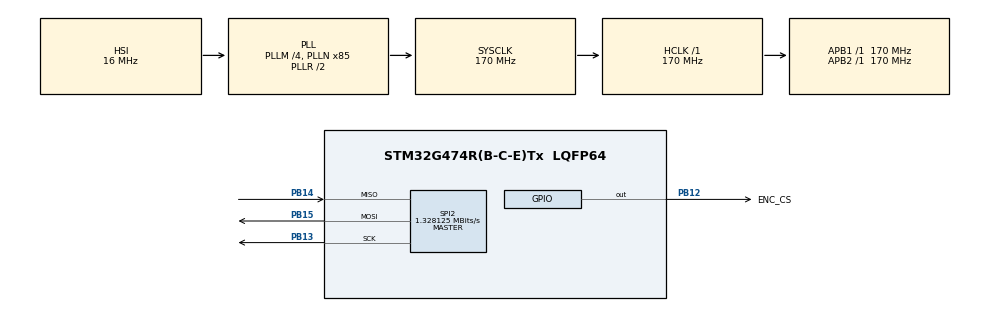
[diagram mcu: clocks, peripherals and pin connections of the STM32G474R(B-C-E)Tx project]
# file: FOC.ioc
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FREERTOS.Tasks01=defaultTask,24,128,StartDefaultTask,Default,NULL,Dynamic,NULL,NULL
Mcu.Family=STM32G4
Mcu.Name=STM32G474R(B-C-E)Tx
Mcu.Package=LQFP64
NUCLEO-G474RE.BUTTON=1
NUCLEO-G474RE.LD2=true
NUCLEO-G474RE.VCP=true
NVIC.EXTI15_10_IRQn=true\:5\:0\:false\:false\:true\:true\:false\:true\:true
NVIC.PriorityGroup=NVIC_PRIORITYGROUP_4
NVIC.TIM7_DAC_IRQn=true\:15\:0\:false\:false\:true\:false\:false\:true\:true
NVIC.TimeBase=TIM7_DAC_IRQn
NVIC.TimeBaseIP=TIM7
PA13.GPIO_Label=T_SWDIO
PA13.Signal=SYS_JTMS-SWDIO
PA14.GPIO_Label=T_SWCLK
PA14.Signal=SYS_JTCK-SWCLK
PB12.GPIO_Label=ENC_CS
PB12.PinState=GPIO_PIN_SET
PB12.Signal=GPIO_Output
PB13.Mode=Full_Duplex_Master
PB13.Signal=SPI2_SCK
PB14.Mode=Full_Duplex_Master
PB14.Signal=SPI2_MISO
PB15.Mode=Full_Duplex_Master
PB15.Signal=SPI2_MOSI
PB3.GPIO_Label=T_SWO
PB3.Signal=SYS_JTDO-SWO
PC14-OSC32_IN.GPIO_Label=RCC_OSC32_IN
PC14-OSC32_IN.Signal=RCC_OSC32_IN
PC15-OSC32_OUT.GPIO_Label=RCC_OSC32_OUT
PC15-OSC32_OUT.Signal=RCC_OSC32_OUT
PF0-OSC_IN.GPIO_Label=RCC_OSC_IN
PF0-OSC_IN.Signal=RCC_OSC_IN
PF1-OSC_OUT.GPIO_Label=RCC_OSC_OUT
PF1-OSC_OUT.Signal=RCC_OSC_OUT
ProjectManager.HeapSize=0x200
ProjectManager.StackSize=0x400
ProjectManager.TargetToolchain=STM32CubeIDE
RCC.ADC12Freq_Value=170000000
RCC.ADC345Freq_Value=170000000
RCC.AHBFreq_Value=170000000
RCC.APB1Freq_Value=170000000
RCC.APB1TimFreq_Value=170000000
RCC.APB2Freq_Value=170000000
RCC.APB2TimFreq_Value=170000000
RCC.CortexFreq_Value=170000000
RCC.EXTERNAL_CLOCK_VALUE=12288000
RCC.HCLKFreq_Value=170000000
RCC.HSE_VALUE=24000000
RCC.HSI48_VALUE=48000000
RCC.HSI_VALUE=16000000
RCC.LSE_VALUE=32768
RCC.PLLM=RCC_PLLM_DIV4
RCC.PLLN=85
RCC.RTCClockSelection=RCC_RTCCLKSOURCE_LSE
RCC.SYSCLKFreq_VALUE=170000000
RCC.SYSCLKSource=RCC_SYSCLKSOURCE_PLLCLK
RCC.USBFreq_Value=170000000
RCC.VCOOutputFreq_Value=340000000
SPI2.BaudRatePrescaler=SPI_BAUDRATEPRESCALER_128
SPI2.CLKPhase=SPI_PHASE_2EDGE
SPI2.CalculateBaudRate=1.328125 MBits/s
SPI2.DataSize=SPI_DATASIZE_16BIT
SPI2.Direction=SPI_DIRECTION_2LINES
SPI2.Mode=SPI_MODE_MASTER
SPI2.VirtualType=VM_MASTER
VP_FREERTOS_VS_CMSIS_V2.Mode=CMSIS_V2
VP_NUCLEO-G474RE_VS_BSP_COMMON.Mode=COMMON
VP_SYS_VS_DBSignals.Mode=DisableDeadBatterySignals
VP_SYS_VS_tim7.Mode=TIM7
board=NUCLEO-G474RE

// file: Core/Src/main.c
/* USER CODE BEGIN Header */
/**
  ******************************************************************************
  * @file           : main.c
  * @brief          : Main program body
  ******************************************************************************
  * @attention
  *
  * Copyright (c) 2026 STMicroelectronics.
  * All rights reserved.
  *
  * This software is licensed under terms that can be found in the LICENSE file
  * in the root directory of this software component.
  * If no LICENSE file comes with this software, it is provided AS-IS.
  *
  ******************************************************************************
  */
/* USER CODE END Header */
#include "main.h"
#include "cmsis_os.h"
#include <stdio.h>

COM_InitTypeDef BspCOMInit;
SPI_HandleTypeDef hspi2;

/* Definitions for defaultTask */
osThreadId_t defaultTaskHandle;
const osThreadAttr_t defaultTask_attributes = {
  .name = "defaultTask",
  .priority = (osPriority_t) osPriorityNormal,
  .stack_size = 128 * 4
};

void SystemClock_Config(void);
static void MX_GPIO_Init(void);
static void MX_SPI2_Init(void);
void StartDefaultTask(void *argument);

/* USER CODE BEGIN 0 */
static uint16_t enc_transfer(uint16_t tx){
	uint16_t rx = 0;
	HAL_GPIO_WritePin(ENC_CS_GPIO_Port, ENC_CS_Pin, GPIO_PIN_RESET);
	HAL_SPI_TransmitReceive(&hspi2, (uint8_t *)&tx, (uint8_t *)&rx, 1, 10);
	HAL_GPIO_WritePin(ENC_CS_GPIO_Port, ENC_CS_Pin, GPIO_PIN_SET);
	return rx;
}
/* USER CODE END 0 */

int main(void)
{

  /* MCU Configuration--------------------------------------------------------*/

  /* Reset of all peripherals, Initializes the Flash interface and the Systick. */
  HAL_Init();

  /* Configure the system clock */
  SystemClock_Config();

  /* Initialize all configured peripherals */
  MX_GPIO_Init();
  MX_SPI2_Init();

  /* Init scheduler */
  osKernelInitialize();

  /* Create the thread(s) */
  /* creation of defaultTask */
  defaultTaskHandle = osThreadNew(StartDefaultTask, NULL, &defaultTask_attributes);

  /* Initialize led */
  BSP_LED_Init(LED_GREEN);

  /* Initialize USER push-button, will be used to trigger an interrupt each time it's pressed.*/
  BSP_PB_Init(BUTTON_USER, BUTTON_MODE_EXTI);

  /* Initialize COM1 port (115200, 8 bits (7-bit data + 1 stop bit), no parity */
  BspCOMInit.BaudRate   = 115200;
  BspCOMInit.WordLength = COM_WORDLENGTH_8B;
  BspCOMInit.StopBits   = COM_STOPBITS_1;
  BspCOMInit.Parity     = COM_PARITY_NONE;
  BspCOMInit.HwFlowCtl  = COM_HWCONTROL_NONE;
  if (BSP_COM_Init(COM1, &BspCOMInit) != BSP_ERROR_NONE)
  {
    Error_Handler();
  }

  /* Start scheduler */
  osKernelStart();

  /* We should never get here as control is now taken by the scheduler */

  /* Infinite loop */
  while (1)
  {

  }
}

void SystemClock_Config(void)
{
  RCC_OscInitTypeDef RCC_OscInitStruct = {0};
  RCC_ClkInitTypeDef RCC_ClkInitStruct = {0};

  /** Configure the main internal regulator output voltage
  */
  HAL_PWREx_ControlVoltageScaling(PWR_REGULATOR_VOLTAGE_SCALE1_BOOST);

  /** Initializes the RCC Oscillators according to the specified parameters
  * in the RCC_OscInitTypeDef structure.
  */
  RCC_OscInitStruct.OscillatorType = RCC_OSCILLATORTYPE_HSI;
  RCC_OscInitStruct.HSIState = RCC_HSI_ON;
  RCC_OscInitStruct.HSICalibrationValue = RCC_HSICALIBRATION_DEFAULT;
  RCC_OscInitStruct.PLL.PLLState = RCC_PLL_ON;
  RCC_OscInitStruct.PLL.PLLSource = RCC_PLLSOURCE_HSI;
  RCC_OscInitStruct.PLL.PLLM = RCC_PLLM_DIV4;
  RCC_OscInitStruct.PLL.PLLN = 85;
  RCC_OscInitStruct.PLL.PLLP = RCC_PLLP_DIV2;
  RCC_OscInitStruct.PLL.PLLQ = RCC_PLLQ_DIV2;
  RCC_OscInitStruct.PLL.PLLR = RCC_PLLR_DIV2;
  if (HAL_RCC_OscConfig(&RCC_OscInitStruct) != HAL_OK)
  {
    Error_Handler();
  }

  /** Initializes the CPU, AHB and APB buses clocks
  */
  RCC_ClkInitStruct.ClockType = RCC_CLOCKTYPE_HCLK|RCC_CLOCKTYPE_SYSCLK
                              |RCC_CLOCKTYPE_PCLK1|RCC_CLOCKTYPE_PCLK2;
  RCC_ClkInitStruct.SYSCLKSource = RCC_SYSCLKSOURCE_PLLCLK;
  RCC_ClkInitStruct.AHBCLKDivider = RCC_SYSCLK_DIV1;
  RCC_ClkInitStruct.APB1CLKDivider = RCC_HCLK_DIV1;
  RCC_ClkInitStruct.APB2CLKDivider = RCC_HCLK_DIV1;

  if (HAL_RCC_ClockConfig(&RCC_ClkInitStruct, FLASH_LATENCY_4) != HAL_OK)
  {
    Error_Handler();
  }
}

static void MX_SPI2_Init(void)
{

  /* SPI2 parameter configuration*/
  hspi2.Instance = SPI2;
  hspi2.Init.Mode = SPI_MODE_MASTER;
  hspi2.Init.Direction = SPI_DIRECTION_2LINES;
  hspi2.Init.DataSize = SPI_DATASIZE_16BIT;
  hspi2.Init.CLKPolarity = SPI_POLARITY_LOW;
  hspi2.Init.CLKPhase = SPI_PHASE_2EDGE;
  hspi2.Init.NSS = SPI_NSS_SOFT;
  hspi2.Init.BaudRatePrescaler = SPI_BAUDRATEPRESCALER_128;
  hspi2.Init.FirstBit = SPI_FIRSTBIT_MSB;
  hspi2.Init.TIMode = SPI_TIMODE_DISABLE;
  hspi2.Init.CRCCalculation = SPI_CRCCALCULATION_DISABLE;
  hspi2.Init.CRCPolynomial = 7;
  hspi2.Init.CRCLength = SPI_CRC_LENGTH_DATASIZE;
  hspi2.Init.NSSPMode = SPI_NSS_PULSE_DISABLE;
  if (HAL_SPI_Init(&hspi2) != HAL_OK)
  {
    Error_Handler();
  }

}

static void MX_GPIO_Init(void)
{
  GPIO_InitTypeDef GPIO_InitStruct = {0};

  /* GPIO Ports Clock Enable */
  __HAL_RCC_GPIOC_CLK_ENABLE();
  __HAL_RCC_GPIOF_CLK_ENABLE();
  __HAL_RCC_GPIOB_CLK_ENABLE();
  __HAL_RCC_GPIOA_CLK_ENABLE();

  /*Configure GPIO pin Output Level */
  HAL_GPIO_WritePin(ENC_CS_GPIO_Port, ENC_CS_Pin, GPIO_PIN_SET);

  /*Configure GPIO pin : ENC_CS_Pin */
  GPIO_InitStruct.Pin = ENC_CS_Pin;
  GPIO_InitStruct.Mode = GPIO_MODE_OUTPUT_PP;
  GPIO_InitStruct.Pull = GPIO_NOPULL;
  GPIO_InitStruct.Speed = GPIO_SPEED_FREQ_LOW;
  HAL_GPIO_Init(ENC_CS_GPIO_Port, &GPIO_InitStruct);

}

void StartDefaultTask(void *argument)
{
  /* USER CODE BEGIN 5 */
  /* Infinite loop */
	//  while(1){
	char msg[48];
	uint16_t reply;

	osDelay(20);
	for(;;){
		enc_transfer(0xFFFF);
		reply = enc_transfer(0xFFFF);

	    int len = snprintf(msg, sizeof(msg),
	                       "raw=0x%04X angle=%u err=%u\r\n",
	                       (unsigned)reply,
	                       (unsigned)(reply & 0x3FFF),
	                       (unsigned)((reply >> 14) & 1U));
	    HAL_UART_Transmit(&hcom_uart[COM1], (uint8_t *)msg, (uint16_t)len, 100);
	    osDelay(100);

	}

  /* USER CODE END 5 */
}

void HAL_TIM_PeriodElapsedCallback(TIM_HandleTypeDef *htim)
{
  if (htim->Instance == TIM7)
  {
    HAL_IncTick();
  }
}

void Error_Handler(void)
{
  __disable_irq();
  while (1)
  {
  }
}
